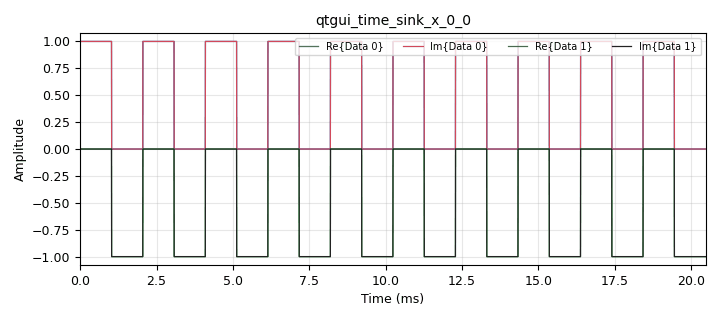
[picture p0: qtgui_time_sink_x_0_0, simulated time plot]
<?xml version='1.0' encoding='utf-8'?>
<?grc format='1' created='3.7.12'?>
<flow_graph>
<block>
<key>options</key>
<param><key>id</key><value>test_multichannel_tsb</value></param>
<param><key>author</key><value>Felix Wunsch</value></param>
<param><key>generate_options</key><value>qt_gui</value></param>
<param><key>title</key><value>Multichannel test with TSB and B210</value></param>
</block>
<block>
<key>variable_qtgui_range</key>
<param><key>id</key><value>delay</value></param>
<param><key>value</key><value>0</value></param>
<param><key>_enabled</key><value>0</value></param>
<param><key>orient</key><value>Qt.Horizontal</value></param>
<param><key>start</key><value>-1000</value></param>
<param><key>step</key><value>1</value></param>
<param><key>stop</key><value>1000</value></param>
</block>
<block>
<key>variable</key>
<param><key>id</key><value>packetlen</value></param>
<param><key>value</key><value>1024</value></param>
</block>
<block>
<key>variable</key>
<param><key>id</key><value>samp_rate</value></param>
<param><key>value</key><value>1e6</value></param>
</block>
<block>
<key>blocks_stream_to_tagged_stream</key>
<param><key>id</key><value>blocks_stream_to_tagged_stream_0</value></param>
<param><key>_enabled</key><value>2</value></param>
<param><key>len_tag_key</key><value>"packet_len"</value></param>
<param><key>packet_len</key><value>packetlen * 10</value></param>
<param><key>type</key><value>complex</value></param>
</block>
<block>
<key>blocks_stream_to_tagged_stream</key>
<param><key>id</key><value>blocks_stream_to_tagged_stream_0_0</value></param>
<param><key>_enabled</key><value>2</value></param>
<param><key>len_tag_key</key><value>"packet_len"</value></param>
<param><key>packet_len</key><value>packetlen * 10</value></param>
<param><key>type</key><value>complex</value></param>
</block>
<block>
<key>blocks_vector_source_x</key>
<param><key>id</key><value>blocks_vector_source_x_0</value></param>
<param><key>type</key><value>complex</value></param>
<param><key>repeat</key><value>True</value></param>
<param><key>vector</key><value>np.concatenate(((1+1j) * np.ones(packetlen), np.zeros(packetlen)))</value></param>
</block>
<block>
<key>blocks_vector_source_x</key>
<param><key>id</key><value>blocks_vector_source_x_1</value></param>
<param><key>type</key><value>complex</value></param>
<param><key>repeat</key><value>True</value></param>
<param><key>vector</key><value>np.concatenate((np.zeros(packetlen), -(1+1j)*np.ones(packetlen)))</value></param>
</block>
<block>
<key>import</key>
<param><key>id</key><value>import_0</value></param>
<param><key>import</key><value>import numpy as np</value></param>
</block>
<block>
<key>qtgui_time_sink_x</key>
<param><key>id</key><value>qtgui_time_sink_x_0</value></param>
<param><key>_enabled</key><value>0</value></param>
<param><key>color1</key><value>"blue"</value></param>
<param><key>label1</key><value></value></param>
<param><key>color2</key><value>"red"</value></param>
<param><key>label2</key><value></value></param>
<param><key>size</key><value>packetlen * 20</value></param>
<param><key>srate</key><value>samp_rate</value></param>
<param><key>type</key><value>complex</value></param>
</block>
<block>
<key>qtgui_time_sink_x</key>
<param><key>id</key><value>qtgui_time_sink_x_0_0</value></param>
<param><key>color1</key><value>"blue"</value></param>
<param><key>label1</key><value></value></param>
<param><key>color2</key><value>"red"</value></param>
<param><key>label2</key><value></value></param>
<param><key>color3</key><value>"green"</value></param>
<param><key>label3</key><value></value></param>
<param><key>color4</key><value>"black"</value></param>
<param><key>label4</key><value></value></param>
<param><key>nconnections</key><value>2</value></param>
<param><key>size</key><value>packetlen * 20</value></param>
<param><key>srate</key><value>samp_rate</value></param>
<param><key>type</key><value>complex</value></param>
</block>
<block>
<key>uhd_usrp_sink</key>
<param><key>id</key><value>uhd_usrp_sink_0</value></param>
<param><key>ant0</key><value>TX/RX</value></param>
<param><key>center_freq0</key><value>2.5e9</value></param>
<param><key>norm_gain0</key><value>True</value></param>
<param><key>gain0</key><value>0.5</value></param>
<param><key>ant1</key><value>TX/RX</value></param>
<param><key>center_freq1</key><value>2.5e9</value></param>
<param><key>norm_gain1</key><value>True</value></param>
<param><key>gain1</key><value>0.5</value></param>
<param><key>clock_rate</key><value>0.0</value></param>
<param><key>dev_addr</key><value>name=Diana</value></param>
<param><key>dev_args</key><value>""</value></param>
<param><key>type</key><value>fc32</value></param>
<param><key>nchan</key><value>2</value></param>
<param><key>samp_rate</key><value>samp_rate</value></param>
<param><key>hide_cmd_port</key><value>False</value></param>
<param><key>hide_lo_controls</key><value>True</value></param>
<param><key>sync</key><value></value></param>
<param><key>len_tag_name</key><value></value></param>
</block>
<block>
<key>uhd_usrp_source</key>
<param><key>id</key><value>uhd_usrp_source_0</value></param>
<param><key>ant0</key><value>TX/RX</value></param>
<param><key>center_freq0</key><value>2.5e9</value></param>
<param><key>dc_offs_enb0</key><value>""</value></param>
<param><key>iq_imbal_enb0</key><value>""</value></param>
<param><key>norm_gain0</key><value>True</value></param>
<param><key>gain0</key><value>0.8</value></param>
<param><key>clock_rate</key><value>0.0</value></param>
<param><key>dev_addr</key><value>name=Delilah</value></param>
<param><key>dev_args</key><value>""</value></param>
<param><key>_enabled</key><value>0</value></param>
<param><key>type</key><value>fc32</value></param>
<param><key>samp_rate</key><value>samp_rate</value></param>
<param><key>hide_cmd_port</key><value>False</value></param>
<param><key>hide_lo_controls</key><value>True</value></param>
<param><key>sync</key><value></value></param>
</block>
<connection><source_block_id>blocks_stream_to_tagged_stream_0</source_block_id><sink_block_id>qtgui_time_sink_x_0_0</sink_block_id><source_key>0</source_key><sink_key>0</sink_key></connection>
<connection><source_block_id>blocks_stream_to_tagged_stream_0</source_block_id><sink_block_id>uhd_usrp_sink_0</sink_block_id><source_key>0</source_key><sink_key>0</sink_key></connection>
<connection><source_block_id>blocks_stream_to_tagged_stream_0_0</source_block_id><sink_block_id>qtgui_time_sink_x_0_0</sink_block_id><source_key>0</source_key><sink_key>1</sink_key></connection>
<connection><source_block_id>blocks_stream_to_tagged_stream_0_0</source_block_id><sink_block_id>uhd_usrp_sink_0</sink_block_id><source_key>0</source_key><sink_key>1</sink_key></connection>
<connection><source_block_id>blocks_vector_source_x_0</source_block_id><sink_block_id>blocks_stream_to_tagged_stream_0</sink_block_id><source_key>0</source_key><sink_key>0</sink_key></connection>
<connection><source_block_id>blocks_vector_source_x_1</source_block_id><sink_block_id>blocks_stream_to_tagged_stream_0_0</sink_block_id><source_key>0</source_key><sink_key>0</sink_key></connection>
<connection><source_block_id>uhd_usrp_source_0</source_block_id><sink_block_id>qtgui_time_sink_x_0</sink_block_id><source_key>0</source_key><sink_key>0</sink_key></connection>
</flow_graph>
